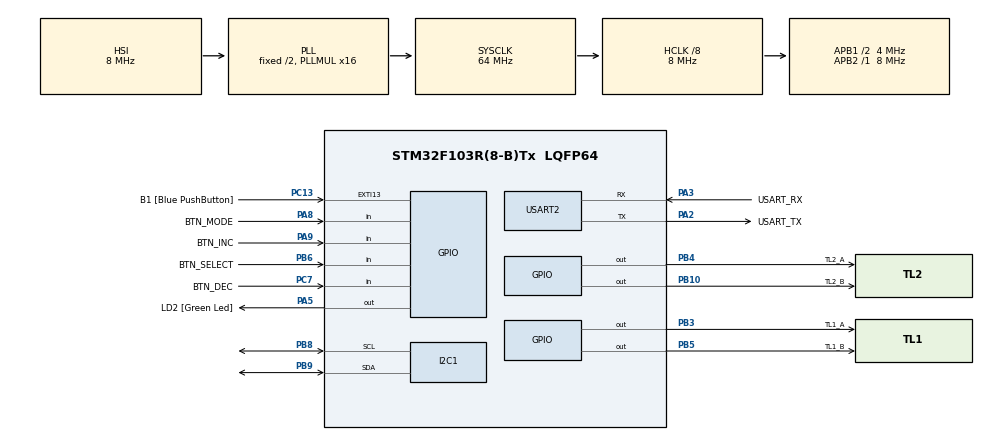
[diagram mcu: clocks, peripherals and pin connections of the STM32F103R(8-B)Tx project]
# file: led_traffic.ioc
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Mcu.Family=STM32F1
Mcu.Name=STM32F103R(8-B)Tx
Mcu.Package=LQFP64
NVIC.EXTI15_10_IRQn=true\:0\:0\:false\:false\:true\:true\:true
NVIC.PriorityGroup=NVIC_PRIORITYGROUP_4
NVIC.TIM2_IRQn=true\:0\:0\:false\:false\:true\:true\:true
PA13.GPIO_Label=TMS
PA13.Mode=Serial_Wire
PA13.Signal=SYS_JTMS-SWDIO
PA14.GPIO_Label=TCK
PA14.Mode=Serial_Wire
PA14.Signal=SYS_JTCK-SWCLK
PA2.GPIO_Label=USART_TX
PA2.GPIO_Mode=GPIO_MODE_AF_PP
PA2.GPIO_PuPd=GPIO_NOPULL
PA2.GPIO_Speed=GPIO_SPEED_FREQ_LOW
PA2.Mode=Asynchronous
PA2.Signal=USART2_TX
PA3.GPIO_Label=USART_RX
PA3.GPIO_Mode=GPIO_MODE_AF_PP
PA3.GPIO_PuPd=GPIO_NOPULL
PA3.GPIO_Speed=GPIO_SPEED_FREQ_LOW
PA3.Mode=Asynchronous
PA3.Signal=USART2_RX
PA5.GPIO_Label=LD2 [Green Led]
PA5.GPIO_ModeDefaultOutputPP=GPIO_MODE_OUTPUT_PP
PA5.GPIO_PuPd=GPIO_NOPULL
PA5.GPIO_Speed=GPIO_SPEED_FREQ_LOW
PA5.Signal=GPIO_Output
PA8.GPIO_Label=BTN_MODE
PA8.GPIO_PuPd=GPIO_PULLUP
PA8.Signal=GPIO_Input
PA9.GPIO_Label=BTN_INC
PA9.GPIO_PuPd=GPIO_PULLUP
PA9.Signal=GPIO_Input
PB10.GPIO_Label=TL2_B
PB10.GPIO_PuPd=GPIO_PULLUP
PB10.Signal=GPIO_Output
PB3.GPIO_Label=TL1_A
PB3.Signal=GPIO_Output
PB4.GPIO_Label=TL2_A
PB4.Signal=GPIO_Output
PB5.GPIO_Label=TL1_B
PB5.Signal=GPIO_Output
PB6.GPIO_Label=BTN_SELECT
PB6.Signal=GPIO_Input
PB8.Mode=I2C
PB8.Signal=I2C1_SCL
PB9.Mode=I2C
PB9.Signal=I2C1_SDA
PC13-TAMPER-RTC.GPIO_Label=B1 [Blue PushButton]
PC13-TAMPER-RTC.GPIO_PuPd=GPIO_NOPULL
PC13-TAMPER-RTC.Signal=GPXTI13
PC14-OSC32_IN.Mode=LSE-External-Oscillator
PC14-OSC32_IN.Signal=RCC_OSC32_IN
PC15-OSC32_OUT.Mode=LSE-External-Oscillator
PC15-OSC32_OUT.Signal=RCC_OSC32_OUT
PC7.GPIO_Label=BTN_DEC
PC7.GPIO_PuPd=GPIO_PULLUP
PC7.Signal=GPIO_Input
PD0-OSC_IN.Mode=HSE-External-Clock-Source
PD0-OSC_IN.Signal=RCC_OSC_IN
PD1-OSC_OUT.Mode=HSE-External-Clock-Source
PD1-OSC_OUT.Signal=RCC_OSC_OUT
ProjectManager.HeapSize=0x200
ProjectManager.StackSize=0x400
ProjectManager.TargetToolchain=STM32CubeIDE
RCC.AHBCLKDivider=RCC_SYSCLK_DIV8
RCC.AHBFreq_Value=8000000
RCC.APB1CLKDivider=RCC_HCLK_DIV2
RCC.APB1Freq_Value=4000000
RCC.APB1TimFreq_Value=8000000
RCC.APB2Freq_Value=8000000
RCC.APB2TimFreq_Value=8000000
RCC.HCLKFreq_Value=8000000
RCC.PLLMUL=RCC_PLL_MUL16
RCC.RTCClockSelection=RCC_RTCCLKSOURCE_LSE
RCC.SYSCLKFreq_VALUE=64000000
RCC.SYSCLKSource=RCC_SYSCLKSOURCE_PLLCLK
RCC.USBFreq_Value=64000000
TIM2.Period=9
TIM2.Prescaler=7999
USART2.VirtualMode=VM_ASYNC
VP_TIM2_VS_ClockSourceINT.Mode=Internal
board=NUCLEO-F103RB

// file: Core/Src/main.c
/* USER CODE BEGIN Header */
/**
  ******************************************************************************
  * @file           : main.c
  * @brief          : Main program body
  ******************************************************************************
  * @attention
  *
  * <h2><center>&copy; Copyright (c) 2026 STMicroelectronics.
  * All rights reserved.</center></h2>
  *
  * This software component is licensed by ST under BSD 3-Clause license,
  * the "License"; You may not use this file except in compliance with the
  * License. You may obtain a copy of the License at:
  *                        opensource.org/licenses/BSD-3-Clause
  *
  ******************************************************************************
  */
/* USER CODE END Header */
#include "main.h"

/* USER CODE BEGIN Includes */
#include "scheduler.h"
#include "softwaretimer.h"
#include "button.h"
#include "dht20.h"
#include "lcd.h"
#include "traffic_light.h"
#include "fsm_automatic.h"
#include "fsm_tuning.h"
#include "fsm_manual.h"
/* USER CODE END Includes */

I2C_HandleTypeDef hi2c1;

TIM_HandleTypeDef htim2;

UART_HandleTypeDef huart2;

void SystemClock_Config(void);
static void MX_GPIO_Init(void);
static void MX_USART2_UART_Init(void);
static void MX_I2C1_Init(void);
static void MX_TIM2_Init(void);

int main(void)
{

  /* MCU Configuration--------------------------------------------------------*/

  /* Reset of all peripherals, Initializes the Flash interface and the Systick. */
  HAL_Init();

  /* Configure the system clock */
  SystemClock_Config();

  /* Initialize all configured peripherals */
  MX_GPIO_Init();
  MX_USART2_UART_Init();
  MX_I2C1_Init();
  MX_TIM2_Init();
  /* USER CODE BEGIN 2 */

  HAL_TIM_Base_Start_IT(&htim2);
  /* USER CODE END 2 */

  /* Infinite loop */
  while (1)
  {

    /* USER CODE BEGIN 3 */
	  SCH_Dispatch_Tasks();
  }
  /* USER CODE END 3 */
}

void SystemClock_Config(void)
{
  RCC_OscInitTypeDef RCC_OscInitStruct = {0};
  RCC_ClkInitTypeDef RCC_ClkInitStruct = {0};

  /** Initializes the RCC Oscillators according to the specified parameters
  * in the RCC_OscInitTypeDef structure.
  */
  RCC_OscInitStruct.OscillatorType = RCC_OSCILLATORTYPE_HSI;
  RCC_OscInitStruct.HSIState = RCC_HSI_ON;
  RCC_OscInitStruct.HSICalibrationValue = RCC_HSICALIBRATION_DEFAULT;
  RCC_OscInitStruct.PLL.PLLState = RCC_PLL_ON;
  RCC_OscInitStruct.PLL.PLLSource = RCC_PLLSOURCE_HSI_DIV2;
  RCC_OscInitStruct.PLL.PLLMUL = RCC_PLL_MUL16;
  if (HAL_RCC_OscConfig(&RCC_OscInitStruct) != HAL_OK)
  {
    Error_Handler();
  }
  /** Initializes the CPU, AHB and APB buses clocks
  */
  RCC_ClkInitStruct.ClockType = RCC_CLOCKTYPE_HCLK|RCC_CLOCKTYPE_SYSCLK
                              |RCC_CLOCKTYPE_PCLK1|RCC_CLOCKTYPE_PCLK2;
  RCC_ClkInitStruct.SYSCLKSource = RCC_SYSCLKSOURCE_PLLCLK;
  RCC_ClkInitStruct.AHBCLKDivider = RCC_SYSCLK_DIV8;
  RCC_ClkInitStruct.APB1CLKDivider = RCC_HCLK_DIV2;
  RCC_ClkInitStruct.APB2CLKDivider = RCC_HCLK_DIV1;

  if (HAL_RCC_ClockConfig(&RCC_ClkInitStruct, FLASH_LATENCY_2) != HAL_OK)
  {
    Error_Handler();
  }
}

static void MX_I2C1_Init(void)
{

  hi2c1.Instance = I2C1;
  hi2c1.Init.ClockSpeed = 100000;
  hi2c1.Init.DutyCycle = I2C_DUTYCYCLE_2;
  hi2c1.Init.OwnAddress1 = 0;
  hi2c1.Init.AddressingMode = I2C_ADDRESSINGMODE_7BIT;
  hi2c1.Init.DualAddressMode = I2C_DUALADDRESS_DISABLE;
  hi2c1.Init.OwnAddress2 = 0;
  hi2c1.Init.GeneralCallMode = I2C_GENERALCALL_DISABLE;
  hi2c1.Init.NoStretchMode = I2C_NOSTRETCH_DISABLE;
  if (HAL_I2C_Init(&hi2c1) != HAL_OK)
  {
    Error_Handler();
  }

}

static void MX_TIM2_Init(void)
{

  TIM_ClockConfigTypeDef sClockSourceConfig = {0};
  TIM_MasterConfigTypeDef sMasterConfig = {0};

  htim2.Instance = TIM2;
  htim2.Init.Prescaler = 7999;
  htim2.Init.CounterMode = TIM_COUNTERMODE_UP;
  htim2.Init.Period = 9;
  htim2.Init.ClockDivision = TIM_CLOCKDIVISION_DIV1;
  htim2.Init.AutoReloadPreload = TIM_AUTORELOAD_PRELOAD_DISABLE;
  if (HAL_TIM_Base_Init(&htim2) != HAL_OK)
  {
    Error_Handler();
  }
  sClockSourceConfig.ClockSource = TIM_CLOCKSOURCE_INTERNAL;
  if (HAL_TIM_ConfigClockSource(&htim2, &sClockSourceConfig) != HAL_OK)
  {
    Error_Handler();
  }
  sMasterConfig.MasterOutputTrigger = TIM_TRGO_RESET;
  sMasterConfig.MasterSlaveMode = TIM_MASTERSLAVEMODE_DISABLE;
  if (HAL_TIMEx_MasterConfigSynchronization(&htim2, &sMasterConfig) != HAL_OK)
  {
    Error_Handler();
  }

}

static void MX_USART2_UART_Init(void)
{

  huart2.Instance = USART2;
  huart2.Init.BaudRate = 115200;
  huart2.Init.WordLength = UART_WORDLENGTH_8B;
  huart2.Init.StopBits = UART_STOPBITS_1;
  huart2.Init.Parity = UART_PARITY_NONE;
  huart2.Init.Mode = UART_MODE_TX_RX;
  huart2.Init.HwFlowCtl = UART_HWCONTROL_NONE;
  huart2.Init.OverSampling = UART_OVERSAMPLING_16;
  if (HAL_UART_Init(&huart2) != HAL_OK)
  {
    Error_Handler();
  }

}

static void MX_GPIO_Init(void)
{
  GPIO_InitTypeDef GPIO_InitStruct = {0};

  /* GPIO Ports Clock Enable */
  __HAL_RCC_GPIOC_CLK_ENABLE();
  __HAL_RCC_GPIOD_CLK_ENABLE();
  __HAL_RCC_GPIOA_CLK_ENABLE();
  __HAL_RCC_GPIOB_CLK_ENABLE();

  /*Configure GPIO pin Output Level */
  HAL_GPIO_WritePin(LD2_GPIO_Port, LD2_Pin, GPIO_PIN_RESET);

  /*Configure GPIO pin Output Level */
  HAL_GPIO_WritePin(GPIOB, TL2_B_Pin|TL1_A_Pin|TL2_A_Pin|TL1_B_Pin, GPIO_PIN_RESET);

  /*Configure GPIO pin : B1_Pin */
  GPIO_InitStruct.Pin = B1_Pin;
  GPIO_InitStruct.Mode = GPIO_MODE_IT_RISING;
  GPIO_InitStruct.Pull = GPIO_NOPULL;
  HAL_GPIO_Init(B1_GPIO_Port, &GPIO_InitStruct);

  /*Configure GPIO pin : LD2_Pin */
  GPIO_InitStruct.Pin = LD2_Pin;
  GPIO_InitStruct.Mode = GPIO_MODE_OUTPUT_PP;
  GPIO_InitStruct.Pull = GPIO_NOPULL;
  GPIO_InitStruct.Speed = GPIO_SPEED_FREQ_LOW;
  HAL_GPIO_Init(LD2_GPIO_Port, &GPIO_InitStruct);

  /*Configure GPIO pin : TL2_B_Pin */
  GPIO_InitStruct.Pin = TL2_B_Pin;
  GPIO_InitStruct.Mode = GPIO_MODE_OUTPUT_PP;
  GPIO_InitStruct.Pull = GPIO_PULLUP;
  GPIO_InitStruct.Speed = GPIO_SPEED_FREQ_LOW;
  HAL_GPIO_Init(TL2_B_GPIO_Port, &GPIO_InitStruct);

  /*Configure GPIO pin : BTN_DEC_Pin */
  GPIO_InitStruct.Pin = BTN_DEC_Pin;
  GPIO_InitStruct.Mode = GPIO_MODE_INPUT;
  GPIO_InitStruct.Pull = GPIO_PULLUP;
  HAL_GPIO_Init(BTN_DEC_GPIO_Port, &GPIO_InitStruct);

  /*Configure GPIO pins : BTN_MODE_Pin BTN_INC_Pin */
  GPIO_InitStruct.Pin = BTN_MODE_Pin|BTN_INC_Pin;
  GPIO_InitStruct.Mode = GPIO_MODE_INPUT;
  GPIO_InitStruct.Pull = GPIO_PULLUP;
  HAL_GPIO_Init(GPIOA, &GPIO_InitStruct);

  /*Configure GPIO pins : TL1_A_Pin TL2_A_Pin TL1_B_Pin */
  GPIO_InitStruct.Pin = TL1_A_Pin|TL2_A_Pin|TL1_B_Pin;
  GPIO_InitStruct.Mode = GPIO_MODE_OUTPUT_PP;
  GPIO_InitStruct.Pull = GPIO_NOPULL;
  GPIO_InitStruct.Speed = GPIO_SPEED_FREQ_LOW;
  HAL_GPIO_Init(GPIOB, &GPIO_InitStruct);

  /*Configure GPIO pin : BTN_SELECT_Pin */
  GPIO_InitStruct.Pin = BTN_SELECT_Pin;
  GPIO_InitStruct.Mode = GPIO_MODE_INPUT;
  GPIO_InitStruct.Pull = GPIO_NOPULL;
  HAL_GPIO_Init(BTN_SELECT_GPIO_Port, &GPIO_InitStruct);

  /* EXTI interrupt init*/
  HAL_NVIC_SetPriority(EXTI15_10_IRQn, 0, 0);
  HAL_NVIC_EnableIRQ(EXTI15_10_IRQn);

}

/* USER CODE BEGIN 4 */
void HAL_TIM_PeriodElapsedCallback(TIM_HandleTypeDef *htim) {
    if (htim->Instance == TIM2) {
        SCH_Update();
        timerRun();
    }
}
/* USER CODE END 4 */

void Error_Handler(void)
{
  __disable_irq();
  while (1)
  {
  }
}

/************************ (C) COPYRIGHT STMicroelectronics *****END OF FILE****/
